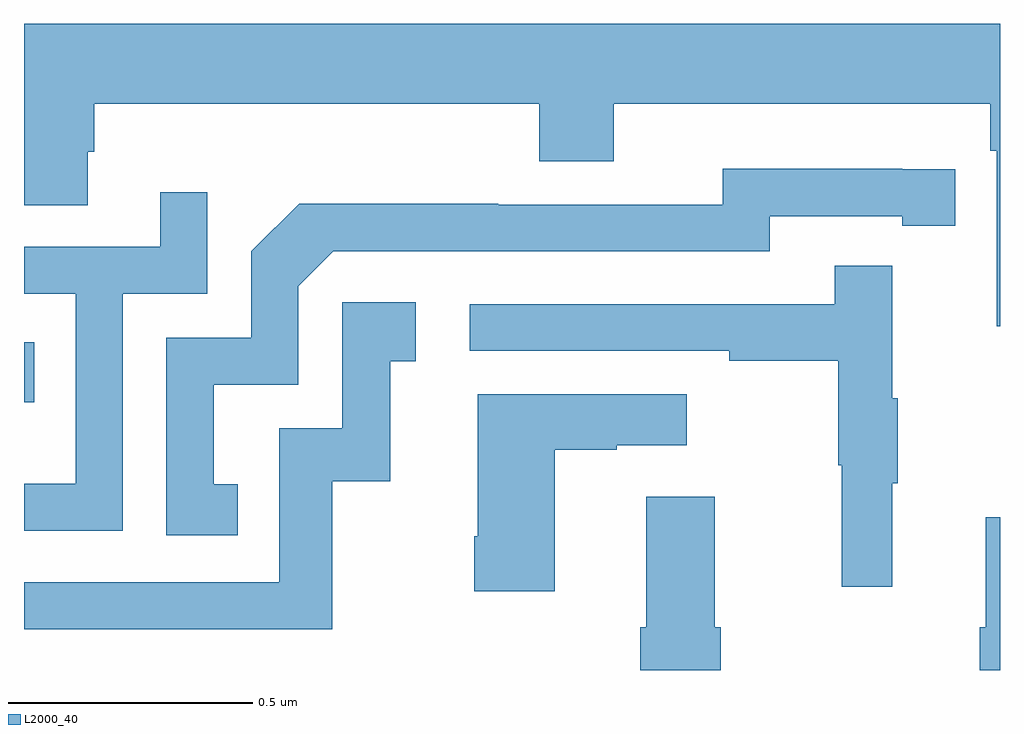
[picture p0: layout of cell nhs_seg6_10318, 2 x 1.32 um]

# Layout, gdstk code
import gdstk
lib = gdstk.Library(unit=1e-6, precision=1e-09)
def R(c, l, rs):  # rectangles x0, y0, x1, y1
    for r in rs: c.add(gdstk.rectangle(r[:2], r[2:], *l))
def P(c, l, *ps):  # polygons
    for p in ps: c.add(gdstk.Polygon(p, *l))
L2000_40 = (2000, 40)

nhs_seg6_10318 = lib.new_cell('nhs_seg6_10318')
R(nhs_seg6_10318, L2000_40, [(245,956.049,245.021,956.172)])
P(nhs_seg6_10318, L2000_40, [(247,956.824),(245,956.824),(245,956.452),(245.131,956.452),(245.131,956.562),(245.144,956.562),(245.144,956.66),(246.056,956.66),(246.056,956.543),(246.208,956.543),(246.208,956.66),(246.98,956.66),(246.98,956.564),(246.993,956.564),(246.993,956.205),(247,956.205)],
  [(245.438,955.881),(245.389,955.881),(245.389,956.085),(245.562,956.085),(245.562,956.286),(245.634,956.358),(246.528,956.358),(246.528,956.43),(246.8,956.43),(246.8,956.41),(246.908,956.41),(246.908,956.526),(246.8,956.526),(246.8,956.527),(246.432,956.527),(246.432,956.454),(245.972,956.454),(245.972,956.456),(245.564,956.456),(245.466,956.358),(245.466,956.181),(245.292,956.181),(245.292,955.776),(245.438,955.776)],
  [(245.202,956.271),(245.376,956.271),(245.376,956.479),(245.279,956.479),(245.279,956.367),(245,956.367),(245,956.271),(245.106,956.271),(245.106,955.882),(245,955.882),(245,955.785),(245.202,955.785)],
  [(246.779,955.883),(246.79,955.883),(246.79,956.057),(246.779,956.057),(246.779,956.329),(246.661,956.329),(246.661,956.25),(245.913,956.25),(245.913,956.154),(246.445,956.154),(246.445,956.134),(246.669,956.134),(246.669,955.92),(246.676,955.92),(246.676,955.671),(246.779,955.671)],
  [(245.632,955.887),(245.75,955.887),(245.75,956.133),(245.803,956.133),(245.803,956.254),(245.652,956.254),(245.652,955.995),(245.523,955.995),(245.523,955.68),(245,955.68),(245,955.584),(245.632,955.584)],
  [(246.088,955.951),(246.215,955.951),(246.215,955.961),(246.358,955.961),(246.358,956.065),(245.93,956.065),(245.93,955.774),(245.923,955.774),(245.923,955.662),(246.088,955.662)],
  [(246.428,955.588),(246.415,955.588),(246.415,955.855),(246.275,955.855),(246.275,955.588),(246.263,955.588),(246.263,955.5),(246.428,955.5)],
  [(247,955.813),(246.971,955.813),(246.971,955.588),(246.959,955.588),(246.959,955.5),(247,955.5)])

lib.write_gds('nhs_seg6_10318.gds')
